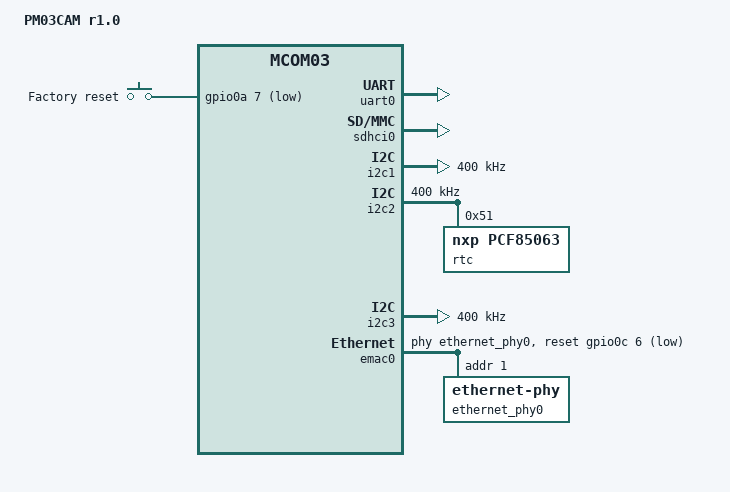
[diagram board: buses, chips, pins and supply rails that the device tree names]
// SPDX-License-Identifier: GPL-2.0+
/*
 * Copyright 2022 RnD Center "ELVEES", JSC
 */

/dts-v1/;

#include <dt-bindings/gpio/gpio.h>
#include <dt-bindings/input/input.h>

#include "mcom03.dtsi"

/ {
	model = "PM03CAM r1.0";
	compatible = "elvees,pm03cam-r1.0",
		     "elvees,pm03cam",
		     "elvees,mcom03";

	aliases {
		serial0 = &uart0;
	};

	chosen {
		stdout-path = "serial0:115200n8";
	};

	gpio-keys {
		compatible = "gpio-keys";

		factory-reset {
			label = "Factory reset";
			gpios = <&gpio0a 7 GPIO_ACTIVE_LOW>;
			linux,code = <KEY_VENDOR>;
		};
	};

	/delete-node/ sdr@1900000;
};

&gpio0a {
	gpio-line-names = "UART3_RX", "UART3_TX", "RESERV2", "RESERV3",
		"CMOS_nRST", "", "RTC_INT", "GPIO_RESET";
};

&gpio0b {
	gpio-line-names = "", "", "UART3_DE", "UART3_RE",
		"", "UART1_RX", "UART1_TX", "";
};

&gpio0c {
	gpio-line-names = "", "", "", "", "", "", "ETH0_RST", "";
};

&gpio0d {
	gpio-line-names = "ICR_OFF", "ICR_ON", "C2B_INPUT", "", "", "", "", "";
};

&gpio1a {
	gpio-line-names = "I2C_SCL_AUD", "I2C_SDA_AUD", "I2C_SCL_RTC",
		"I2C_SDA_RTC", "I2C_SCL_MIPI", "I2C_SDA_MIPI",
		"INT_ETH", "RESERV4";
};

&gpio1b {
	gpio-line-names = "I2S0_SCLKOc", "I2S0_WSO", "I2S0_SDO0", "",
		"I2S0_SDI0", "I2S0_SCLK", "UART0_TX", "UART0_RX";
};

&gpio1c {
	gpio-line-names = "ALIN", "", "ALOUT", "", "", "", "", "";
};

&uart0 {
	status = "okay";
};

&hsperiph_pinctrl {
	pinctrl-0 = <&hsperiph_misc_default &emac_v18>;
};

/* Connected to MicroSD card */
&sdhci0 {
	status = "okay";

	/* Disable High Speed support
	 * Disable 1.8V support
	 * Disable SDR50, SDR104 and DDR50 support
	 */
	sdhci-caps-mask = <0x7 0x4200000>;
	sdhci-caps = <0x0 0x0>;
};

&i2c1 {
	clock-frequency = <400000>;
	status = "okay";
};

&i2c2 {
	clock-frequency = <400000>;
	status = "okay";

	rtc@51 {
		compatible = "nxp,pcf85063";
		reg = <0x51>;
	};
};

&i2c3 {
	clock-frequency = <400000>;
	status = "okay";
};

&emac0 {
	status = "okay";
	phy-handle = <&ethernet_phy0>;
	reset-gpios = <&gpio0c 6 GPIO_ACTIVE_LOW>;
	reset-delay-us = <10000>;
	reset-post-delay-us = <50000>;

	ethernet_phy0: ethernet-phy@1 {
		reg = <0x1>;
		max-speed = <100>;
	};
};
